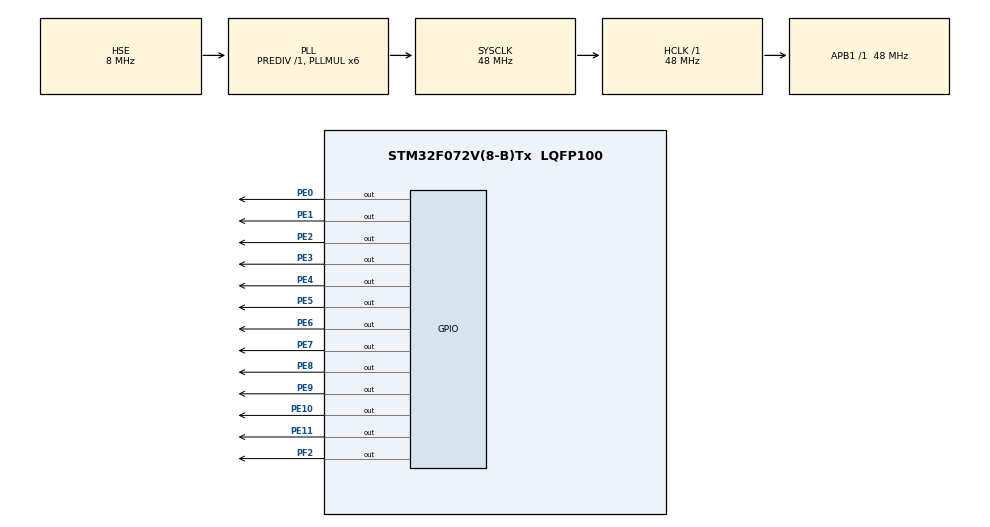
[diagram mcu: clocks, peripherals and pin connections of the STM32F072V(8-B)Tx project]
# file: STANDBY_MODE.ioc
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Mcu.Family=STM32F0
Mcu.Name=STM32F072V(8-B)Tx
Mcu.Package=LQFP100
PA0.Mode=SYS_WakeUp0
PA0.Signal=SYS_WKUP1
PE0.Signal=GPIO_Output
PE1.Signal=GPIO_Output
PE10.Signal=GPIO_Output
PE11.Signal=GPIO_Output
PE2.Signal=GPIO_Output
PE3.Signal=GPIO_Output
PE4.Signal=GPIO_Output
PE5.Signal=GPIO_Output
PE6.Signal=GPIO_Output
PE7.Signal=GPIO_Output
PE8.Signal=GPIO_Output
PE9.Signal=GPIO_Output
PF0-OSC_IN.Mode=HSE-External-Oscillator
PF0-OSC_IN.Signal=RCC_OSC_IN
PF1-OSC_OUT.Mode=HSE-External-Oscillator
PF1-OSC_OUT.Signal=RCC_OSC_OUT
PF2.Signal=GPIO_Output
ProjectManager.HeapSize=0x200
ProjectManager.StackSize=0x400
ProjectManager.TargetToolchain=MDK-ARM V5
RCC.AHBFreq_Value=48000000
RCC.APB1Freq_Value=48000000
RCC.APB1TimFreq_Value=48000000
RCC.HCLKFreq_Value=48000000
RCC.HSIState=RCC_HSI_ON
RCC.PLLMUL=RCC_PLL_MUL6
RCC.PLLSourceVirtual=RCC_PLLSOURCE_HSE
RCC.SYSCLKFreq_VALUE=48000000
RCC.SYSCLKSource=RCC_SYSCLKSOURCE_PLLCLK
board=STANDBY_MODE

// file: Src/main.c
/**
  ******************************************************************************
  * File Name          : main.c
  * Description        : Main program body
  ******************************************************************************
  *
  * COPYRIGHT(c) 2018 STMicroelectronics
  *
  * Redistribution and use in source and binary forms, with or without modification,
  * are permitted provided that the following conditions are met:
  *   1. Redistributions of source code must retain the above copyright notice,
  *      this list of conditions and the following disclaimer.
  *   2. Redistributions in binary form must reproduce the above copyright notice,
  *      this list of conditions and the following disclaimer in the documentation
  *      and/or other materials provided with the distribution.
  *   3. Neither the name of STMicroelectronics nor the names of its contributors
  *      may be used to endorse or promote products derived from this software
  *      without specific prior written permission.
  *
  * THIS SOFTWARE IS PROVIDED BY THE COPYRIGHT HOLDERS AND CONTRIBUTORS "AS IS"
  * AND ANY EXPRESS OR IMPLIED WARRANTIES, INCLUDING, BUT NOT LIMITED TO, THE
  * IMPLIED WARRANTIES OF MERCHANTABILITY AND FITNESS FOR A PARTICULAR PURPOSE ARE
  * DISCLAIMED. IN NO EVENT SHALL THE COPYRIGHT HOLDER OR CONTRIBUTORS BE LIABLE
  * FOR ANY DIRECT, INDIRECT, INCIDENTAL, SPECIAL, EXEMPLARY, OR CONSEQUENTIAL
  * DAMAGES (INCLUDING, BUT NOT LIMITED TO, PROCUREMENT OF SUBSTITUTE GOODS OR
  * SERVICES; LOSS OF USE, DATA, OR PROFITS; OR BUSINESS INTERRUPTION) HOWEVER
  * CAUSED AND ON ANY THEORY OF LIABILITY, WHETHER IN CONTRACT, STRICT LIABILITY,
  * OR TORT (INCLUDING NEGLIGENCE OR OTHERWISE) ARISING IN ANY WAY OUT OF THE USE
  * OF THIS SOFTWARE, EVEN IF ADVISED OF THE POSSIBILITY OF SUCH DAMAGE.
  *
  ******************************************************************************
  */
#include "stm32f0xx_hal.h"

/* USER CODE BEGIN PV */
/* Private variables ---------------------------------------------------------*/

/* USER CODE END PV */

void SystemClock_Config(void);
void Error_Handler(void);
static void MX_GPIO_Init(void);

/* USER CODE BEGIN PFP */
/* Private function prototypes -----------------------------------------------*/
void SEG_Display(uint32_t num);     /*  数码管显示函数  */
void STANDBY_Init(void);            /*  STANDBY模式初始化函数  */

/* USER CODE END PFP */

/* USER CODE BEGIN 0 */
const uint8_t table0[]= {0x3f,0x06,0x5b,0x4f,0x66,0x6d,0x7d,0x07,0x7f,0x6f};  /* 共阴（无点）*/
const uint8_t table1[]= {0xbf,0x86,0xdb,0xcf,0xe6,0xed,0xfd,0x87,0xff,0xef};  /* 共阴（有点）*/
uint32_t  timeout;          /* 定义超时变量 */

/* USER CODE END 0 */

int main(void)
{

  /* MCU Configuration----------------------------------------------------------*/

  /* Reset of all peripherals, Initializes the Flash interface and the Systick. */
  HAL_Init();

  /* Configure the system clock */
  SystemClock_Config();

  /* Initialize all configured peripherals */
  MX_GPIO_Init();

  /* USER CODE BEGIN 2 */

	/*  STANDBY模式初始化  */
	STANDBY_Init();
	/* 超时变量赋初值   */
	timeout=200;

  /* USER CODE END 2 */

  /* Infinite loop */
  /* USER CODE BEGIN WHILE */
  while (1)
  {
		/* 数码管显示超时值  */
		SEG_Display(timeout);
		/* 超时变量自减  */
		timeout--;
		if(timeout==0)
		{
			/* 超时变量赋初值   */
			timeout=200;
			/* 进入待机模式 */
			HAL_PWR_EnterSTANDBYMode ();
		}
  /* USER CODE END WHILE */

  }

}

/** System Clock Configuration
*/
void SystemClock_Config(void)
{

  RCC_OscInitTypeDef RCC_OscInitStruct;
  RCC_ClkInitTypeDef RCC_ClkInitStruct;

  RCC_OscInitStruct.OscillatorType = RCC_OSCILLATORTYPE_HSE;
  RCC_OscInitStruct.HSEState = RCC_HSE_ON;
  RCC_OscInitStruct.PLL.PLLState = RCC_PLL_ON;
  RCC_OscInitStruct.PLL.PLLSource = RCC_PLLSOURCE_HSE;
  RCC_OscInitStruct.PLL.PLLMUL = RCC_PLL_MUL6;
  RCC_OscInitStruct.PLL.PREDIV = RCC_PREDIV_DIV1;
  if (HAL_RCC_OscConfig(&RCC_OscInitStruct) != HAL_OK)
  {
    Error_Handler();
  }

  RCC_ClkInitStruct.ClockType = RCC_CLOCKTYPE_HCLK|RCC_CLOCKTYPE_SYSCLK
                              |RCC_CLOCKTYPE_PCLK1;
  RCC_ClkInitStruct.SYSCLKSource = RCC_SYSCLKSOURCE_PLLCLK;
  RCC_ClkInitStruct.AHBCLKDivider = RCC_SYSCLK_DIV1;
  RCC_ClkInitStruct.APB1CLKDivider = RCC_HCLK_DIV1;
  if (HAL_RCC_ClockConfig(&RCC_ClkInitStruct, FLASH_LATENCY_1) != HAL_OK)
  {
    Error_Handler();
  }

  HAL_SYSTICK_Config(HAL_RCC_GetHCLKFreq()/1000);

  HAL_SYSTICK_CLKSourceConfig(SYSTICK_CLKSOURCE_HCLK);

  /* SysTick_IRQn interrupt configuration */
  HAL_NVIC_SetPriority(SysTick_IRQn, 0, 0);
}

/** Configure pins as
        * Analog
        * Input
        * Output
        * EVENT_OUT
        * EXTI
*/
static void MX_GPIO_Init(void)
{

  GPIO_InitTypeDef GPIO_InitStruct;

  /* GPIO Ports Clock Enable */
  __HAL_RCC_GPIOE_CLK_ENABLE();
  __HAL_RCC_GPIOF_CLK_ENABLE();
  __HAL_RCC_GPIOA_CLK_ENABLE();

  /*Configure GPIO pin Output Level */
  HAL_GPIO_WritePin(GPIOE, GPIO_PIN_2|GPIO_PIN_3|GPIO_PIN_4|GPIO_PIN_5
                          |GPIO_PIN_6|GPIO_PIN_7|GPIO_PIN_8|GPIO_PIN_9
                          |GPIO_PIN_10|GPIO_PIN_11|GPIO_PIN_0|GPIO_PIN_1, GPIO_PIN_RESET);

  /*Configure GPIO pin Output Level */
  HAL_GPIO_WritePin(GPIOF, GPIO_PIN_2, GPIO_PIN_RESET);

  /*Configure GPIO pins : PE2 PE3 PE4 PE5
                           PE6 PE7 PE8 PE9
                           PE10 PE11 PE0 PE1 */
  GPIO_InitStruct.Pin = GPIO_PIN_2|GPIO_PIN_3|GPIO_PIN_4|GPIO_PIN_5
                          |GPIO_PIN_6|GPIO_PIN_7|GPIO_PIN_8|GPIO_PIN_9
                          |GPIO_PIN_10|GPIO_PIN_11|GPIO_PIN_0|GPIO_PIN_1;
  GPIO_InitStruct.Mode = GPIO_MODE_OUTPUT_PP;
  GPIO_InitStruct.Pull = GPIO_NOPULL;
  GPIO_InitStruct.Speed = GPIO_SPEED_FREQ_LOW;
  HAL_GPIO_Init(GPIOE, &GPIO_InitStruct);

  /*Configure GPIO pin : PF2 */
  GPIO_InitStruct.Pin = GPIO_PIN_2;
  GPIO_InitStruct.Mode = GPIO_MODE_OUTPUT_PP;
  GPIO_InitStruct.Pull = GPIO_NOPULL;
  GPIO_InitStruct.Speed = GPIO_SPEED_FREQ_LOW;
  HAL_GPIO_Init(GPIOF, &GPIO_InitStruct);

}

/* USER CODE BEGIN 4 */

/*  数码管显示函数  */
void SEG_Display(uint32_t num)
{
	/* 取出四位数显示值 */
  uint8_t GeWei,ShiWei,BaiWei,QianWei;
	GeWei   = (uint8_t)(num%10);
	ShiWei  = (uint8_t)(num%100/10);
	BaiWei  = (uint8_t)(num%1000/100);
	QianWei = (uint8_t)(num/1000);

	/* 使能数码管位驱动  */
	HAL_GPIO_WritePin(GPIOF,GPIO_PIN_2,GPIO_PIN_RESET);

	/* 显示个位 */
	GPIOE->ODR |= (uint16_t)(table0[GeWei]);
	/* 使能个位 */
	HAL_GPIO_WritePin(GPIOE,GPIO_PIN_9|GPIO_PIN_10|GPIO_PIN_11,GPIO_PIN_SET);
	HAL_GPIO_WritePin(GPIOE,GPIO_PIN_8,GPIO_PIN_RESET);
	HAL_Delay(3);
	/* 消隐 */
  GPIOE->ODR &= 0xFF00;
	GPIOE->ODR |= 0x0F00;
	HAL_Delay(1);

	/* 显示十位 */
	GPIOE->ODR |= (uint16_t)(table0[ShiWei]);
	/* 使能十位 */
	HAL_GPIO_WritePin(GPIOE,GPIO_PIN_8|GPIO_PIN_10|GPIO_PIN_11,GPIO_PIN_SET);
	HAL_GPIO_WritePin(GPIOE,GPIO_PIN_9,GPIO_PIN_RESET);
	HAL_Delay(3);
	/* 消隐 */
  GPIOE->ODR &= 0xFF00;
	GPIOE->ODR |= 0x0F00;
	HAL_Delay(1);

	/* 显示百位 */
	GPIOE->ODR |= (uint16_t)(table0[BaiWei]);
	/* 使能百位 */
	HAL_GPIO_WritePin(GPIOE,GPIO_PIN_8|GPIO_PIN_9|GPIO_PIN_11,GPIO_PIN_SET);
	HAL_GPIO_WritePin(GPIOE,GPIO_PIN_10,GPIO_PIN_RESET);
	HAL_Delay(3);
	/* 消隐 */
  GPIOE->ODR &= 0xFF00;
	GPIOE->ODR |= 0x0F00;
	HAL_Delay(1);

	/* 显示千位 */
	GPIOE->ODR |= (uint16_t)(table0[QianWei]);
	/* 使能千位 */
	HAL_GPIO_WritePin(GPIOE,GPIO_PIN_8|GPIO_PIN_9|GPIO_PIN_10,GPIO_PIN_SET);
	HAL_GPIO_WritePin(GPIOE,GPIO_PIN_11,GPIO_PIN_RESET);
	HAL_Delay(3);
	/* 消隐 */
  GPIOE->ODR &= 0xFF00;
	GPIOE->ODR |= 0x0F00;
	HAL_Delay(1);
}

/*  STANDBY模式初始化函数  */
void STANDBY_Init(void)
{
	__HAL_RCC_PWR_CLK_ENABLE ( ) ;             /*使能Power接口时钟 */
	HAL_PWR_EnableWakeUpPin (PWR_WAKEUP_PIN1); /* 使能唤醒引脚     */
	__HAL_PWR_CLEAR_FLAG(PWR_FLAG_WU) ;        /* 清除唤醒标志     */
	__HAL_PWR_CLEAR_FLAG(PWR_FLAG_SB) ;        /* 清除待机标志     */
}

/* USER CODE END 4 */

void Error_Handler(void)
{
  while(1)
  {
  }
}

/************************ (C) COPYRIGHT STMicroelectronics *****END OF FILE****/
